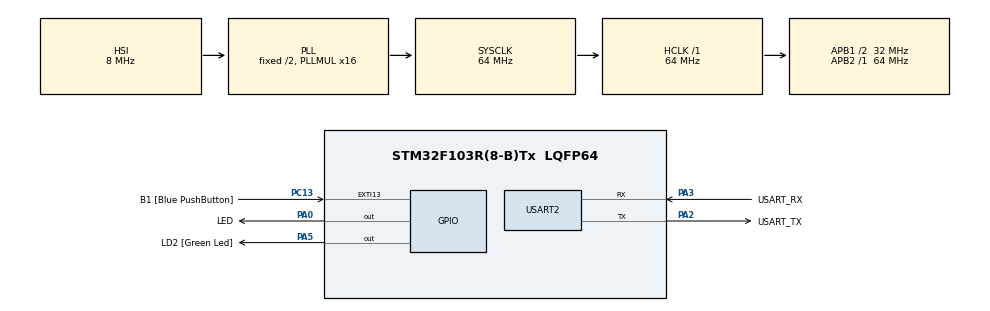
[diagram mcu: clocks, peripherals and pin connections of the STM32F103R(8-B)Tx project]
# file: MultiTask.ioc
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Mcu.Family=STM32F1
Mcu.Name=STM32F103R(8-B)Tx
Mcu.Package=LQFP64
NVIC.EXTI15_10_IRQn=true\:0\:0\:false\:false\:true\:true\:true\:true
NVIC.PriorityGroup=NVIC_PRIORITYGROUP_4
NVIC.TIM2_IRQn=true\:0\:0\:false\:false\:true\:true\:true\:true
PA0-WKUP.GPIO_Label=LED
PA0-WKUP.Signal=GPIO_Output
PA13.GPIO_Label=TMS
PA13.Mode=Serial_Wire
PA13.Signal=SYS_JTMS-SWDIO
PA14.GPIO_Label=TCK
PA14.Mode=Serial_Wire
PA14.Signal=SYS_JTCK-SWCLK
PA2.GPIO_Label=USART_TX
PA2.GPIO_Mode=GPIO_MODE_AF_PP
PA2.GPIO_PuPd=GPIO_NOPULL
PA2.GPIO_Speed=GPIO_SPEED_FREQ_LOW
PA2.Mode=Asynchronous
PA2.Signal=USART2_TX
PA3.GPIO_Label=USART_RX
PA3.GPIO_Mode=GPIO_MODE_AF_PP
PA3.GPIO_PuPd=GPIO_NOPULL
PA3.GPIO_Speed=GPIO_SPEED_FREQ_LOW
PA3.Mode=Asynchronous
PA3.Signal=USART2_RX
PA5.GPIO_Label=LD2 [Green Led]
PA5.GPIO_ModeDefaultOutputPP=GPIO_MODE_OUTPUT_PP
PA5.GPIO_PuPd=GPIO_NOPULL
PA5.GPIO_Speed=GPIO_SPEED_FREQ_LOW
PA5.Signal=GPIO_Output
PB3.GPIO_Label=SWO
PB3.Signal=SYS_JTDO-TRACESWO
PC13-TAMPER-RTC.GPIO_Label=B1 [Blue PushButton]
PC13-TAMPER-RTC.GPIO_ModeDefaultEXTI=GPIO_MODE_IT_RISING_FALLING
PC13-TAMPER-RTC.GPIO_PuPd=GPIO_NOPULL
PC13-TAMPER-RTC.Signal=GPXTI13
PC14-OSC32_IN.Signal=RCC_OSC32_IN
PC15-OSC32_OUT.Signal=RCC_OSC32_OUT
PD0-OSC_IN.Signal=RCC_OSC_IN
PD1-OSC_OUT.Signal=RCC_OSC_OUT
ProjectManager.HeapSize=0x200
ProjectManager.StackSize=0x400
ProjectManager.TargetToolchain=STM32CubeIDE
RCC.AHBFreq_Value=64000000
RCC.APB1CLKDivider=RCC_HCLK_DIV2
RCC.APB1Freq_Value=32000000
RCC.APB1TimFreq_Value=64000000
RCC.APB2Freq_Value=64000000
RCC.APB2TimFreq_Value=64000000
RCC.HCLKFreq_Value=64000000
RCC.PLLMUL=RCC_PLL_MUL16
RCC.RTCClockSelection=RCC_RTCCLKSOURCE_LSE
RCC.SYSCLKFreq_VALUE=64000000
RCC.SYSCLKSource=RCC_SYSCLKSOURCE_PLLCLK
RCC.USBFreq_Value=64000000
TIM2.Period=999
TIM2.Prescaler=6399
USART2.VirtualMode=VM_ASYNC
VP_TIM2_VS_ClockSourceINT.Mode=Internal
board=NUCLEO-F103RB

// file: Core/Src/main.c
/* USER CODE BEGIN Header */
/**
  ******************************************************************************
  * @file           : main.c
  * @brief          : Main program body
  ******************************************************************************
  * @attention
  *
  * Copyright (c) 2025 STMicroelectronics.
  * All rights reserved.
  *
  * This software is licensed under terms that can be found in the LICENSE file
  * in the root directory of this software component.
  * If no LICENSE file comes with this software, it is provided AS-IS.
  *
  ******************************************************************************
  */
/* USER CODE END Header */
#include "main.h"

/* USER CODE BEGIN PD */
#define DEBOUNCE_MS   50
/* USER CODE END PD */

TIM_HandleTypeDef htim2;

UART_HandleTypeDef huart2;

/* USER CODE BEGIN PV */
uint8_t transmit;
volatile int gTimerCnt;
volatile int stoptime;
int state[8];
/* USER CODE END PV */

void SystemClock_Config(void);
static void MX_GPIO_Init(void);
static void MX_USART2_UART_Init(void);
static void MX_TIM2_Init(void);

/* USER CODE BEGIN 0 */
#ifdef __GNUC__
/* With GCC, small printf (option LD Linker->Libraries->Small printf
   set to 'Yes') calls __io_putchar() */
#define PUTCHAR_PROTOTYPE int __io_putchar(int ch)
#else
#define PUTCHAR_PROTOTYPE int fputc(int ch, FILE *f)
#endif /* __GNUC__ */

/**
  * @brief  Retargets the C library printf function to the USART.
  * @param  None
  * @retval None
  */
PUTCHAR_PROTOTYPE
{
  /* Place your implementation of fputc here */
  /* e.g. write a character to the USART1 and Loop until the end of transmission */
  if (ch == '\n')
    HAL_UART_Transmit (&huart2, (uint8_t*) "\r", 1, 0xFFFF);
  	HAL_UART_Transmit (&huart2, (uint8_t*) &ch, 1, 0xFFFF);

  return ch;
}

void HAL_TIM_PeriodElapsedCallback(TIM_HandleTypeDef *htim)
{
	if(htim->Instance == TIM2)
	{
		gTimerCnt++;

		HAL_GPIO_TogglePin(LD2_GPIO_Port, LD2_Pin);
	}
}

void HAL_GPIO_EXTI_Callback(uint16_t GPIO_Pin)
{
	if(GPIO_Pin == B1_Pin)
	{
		// HAL_Delay(50);
		HAL_NVIC_DisableIRQ(EXTI15_10_IRQn);
		for(int i = 0; i < 8; i++)
		{
			state[i] = HAL_GPIO_ReadPin(B1_GPIO_Port, B1_Pin);
		}
		if(state[0] == 1 && state[1] == 1 && state[2] == 1 && state[3] == 1 && state[4] == 1 && state[5] == 1 && state[6] == 1 && state[7] == 1)
		{
			HAL_GPIO_TogglePin(LED_GPIO_Port, LED_Pin);
		}
		else
		{
			HAL_NVIC_EnableIRQ(EXTI15_10_IRQn);
		}
	}
}
/* USER CODE END 0 */

int main(void)
{

  /* MCU Configuration--------------------------------------------------------*/

  /* Reset of all peripherals, Initializes the Flash interface and the Systick. */
  HAL_Init();

  /* Configure the system clock */
  SystemClock_Config();

  /* Initialize all configured peripherals */
  MX_GPIO_Init();
  MX_USART2_UART_Init();
  MX_TIM2_Init();
  /* USER CODE BEGIN 2 */
  HAL_TIM_Base_Start_IT(&htim2);

  /* USER CODE END 2 */

  /* Infinite loop */
  while (1)
  {

    /* USER CODE BEGIN 3 */
	  if(gTimerCnt >= 10)
	  {
		  gTimerCnt = 0;
		  printf("hongmin\r\n");
	  }

	  HAL_Delay(10); // CPU 부하 감소
  }
  /* USER CODE END 3 */
}

void SystemClock_Config(void)
{
  RCC_OscInitTypeDef RCC_OscInitStruct = {0};
  RCC_ClkInitTypeDef RCC_ClkInitStruct = {0};

  /** Initializes the RCC Oscillators according to the specified parameters
  * in the RCC_OscInitTypeDef structure.
  */
  RCC_OscInitStruct.OscillatorType = RCC_OSCILLATORTYPE_HSI;
  RCC_OscInitStruct.HSIState = RCC_HSI_ON;
  RCC_OscInitStruct.HSICalibrationValue = RCC_HSICALIBRATION_DEFAULT;
  RCC_OscInitStruct.PLL.PLLState = RCC_PLL_ON;
  RCC_OscInitStruct.PLL.PLLSource = RCC_PLLSOURCE_HSI_DIV2;
  RCC_OscInitStruct.PLL.PLLMUL = RCC_PLL_MUL16;
  if (HAL_RCC_OscConfig(&RCC_OscInitStruct) != HAL_OK)
  {
    Error_Handler();
  }

  /** Initializes the CPU, AHB and APB buses clocks
  */
  RCC_ClkInitStruct.ClockType = RCC_CLOCKTYPE_HCLK|RCC_CLOCKTYPE_SYSCLK
                              |RCC_CLOCKTYPE_PCLK1|RCC_CLOCKTYPE_PCLK2;
  RCC_ClkInitStruct.SYSCLKSource = RCC_SYSCLKSOURCE_PLLCLK;
  RCC_ClkInitStruct.AHBCLKDivider = RCC_SYSCLK_DIV1;
  RCC_ClkInitStruct.APB1CLKDivider = RCC_HCLK_DIV2;
  RCC_ClkInitStruct.APB2CLKDivider = RCC_HCLK_DIV1;

  if (HAL_RCC_ClockConfig(&RCC_ClkInitStruct, FLASH_LATENCY_2) != HAL_OK)
  {
    Error_Handler();
  }
}

static void MX_TIM2_Init(void)
{

  TIM_ClockConfigTypeDef sClockSourceConfig = {0};
  TIM_MasterConfigTypeDef sMasterConfig = {0};

  htim2.Instance = TIM2;
  htim2.Init.Prescaler = 6399;
  htim2.Init.CounterMode = TIM_COUNTERMODE_UP;
  htim2.Init.Period = 999;
  htim2.Init.ClockDivision = TIM_CLOCKDIVISION_DIV1;
  htim2.Init.AutoReloadPreload = TIM_AUTORELOAD_PRELOAD_DISABLE;
  if (HAL_TIM_Base_Init(&htim2) != HAL_OK)
  {
    Error_Handler();
  }
  sClockSourceConfig.ClockSource = TIM_CLOCKSOURCE_INTERNAL;
  if (HAL_TIM_ConfigClockSource(&htim2, &sClockSourceConfig) != HAL_OK)
  {
    Error_Handler();
  }
  sMasterConfig.MasterOutputTrigger = TIM_TRGO_RESET;
  sMasterConfig.MasterSlaveMode = TIM_MASTERSLAVEMODE_DISABLE;
  if (HAL_TIMEx_MasterConfigSynchronization(&htim2, &sMasterConfig) != HAL_OK)
  {
    Error_Handler();
  }

}

static void MX_USART2_UART_Init(void)
{

  huart2.Instance = USART2;
  huart2.Init.BaudRate = 115200;
  huart2.Init.WordLength = UART_WORDLENGTH_8B;
  huart2.Init.StopBits = UART_STOPBITS_1;
  huart2.Init.Parity = UART_PARITY_NONE;
  huart2.Init.Mode = UART_MODE_TX_RX;
  huart2.Init.HwFlowCtl = UART_HWCONTROL_NONE;
  huart2.Init.OverSampling = UART_OVERSAMPLING_16;
  if (HAL_UART_Init(&huart2) != HAL_OK)
  {
    Error_Handler();
  }

}

static void MX_GPIO_Init(void)
{
  GPIO_InitTypeDef GPIO_InitStruct = {0};

  /* GPIO Ports Clock Enable */
  __HAL_RCC_GPIOC_CLK_ENABLE();
  __HAL_RCC_GPIOD_CLK_ENABLE();
  __HAL_RCC_GPIOA_CLK_ENABLE();
  __HAL_RCC_GPIOB_CLK_ENABLE();

  /*Configure GPIO pin Output Level */
  HAL_GPIO_WritePin(GPIOA, LED_Pin|LD2_Pin, GPIO_PIN_RESET);

  /*Configure GPIO pin : B1_Pin */
  GPIO_InitStruct.Pin = B1_Pin;
  GPIO_InitStruct.Mode = GPIO_MODE_IT_RISING_FALLING;
  GPIO_InitStruct.Pull = GPIO_NOPULL;
  HAL_GPIO_Init(B1_GPIO_Port, &GPIO_InitStruct);

  /*Configure GPIO pins : LED_Pin LD2_Pin */
  GPIO_InitStruct.Pin = LED_Pin|LD2_Pin;
  GPIO_InitStruct.Mode = GPIO_MODE_OUTPUT_PP;
  GPIO_InitStruct.Pull = GPIO_NOPULL;
  GPIO_InitStruct.Speed = GPIO_SPEED_FREQ_LOW;
  HAL_GPIO_Init(GPIOA, &GPIO_InitStruct);

  /* EXTI interrupt init*/
  HAL_NVIC_SetPriority(EXTI15_10_IRQn, 0, 0);
  HAL_NVIC_EnableIRQ(EXTI15_10_IRQn);

}

void Error_Handler(void)
{
  /* USER CODE BEGIN Error_Handler_Debug */
  /* User can add his own implementation to report the HAL error return state */
  __disable_irq();
  while (1)
  {
	  sprintf((char *)transmit, "ERROR\r\n");
	  HAL_UART_Transmit(&huart2, transmit, strlen((char *) transmit), 100);
	  HAL_Delay(1000);
  }
  /* USER CODE END Error_Handler_Debug */
}
